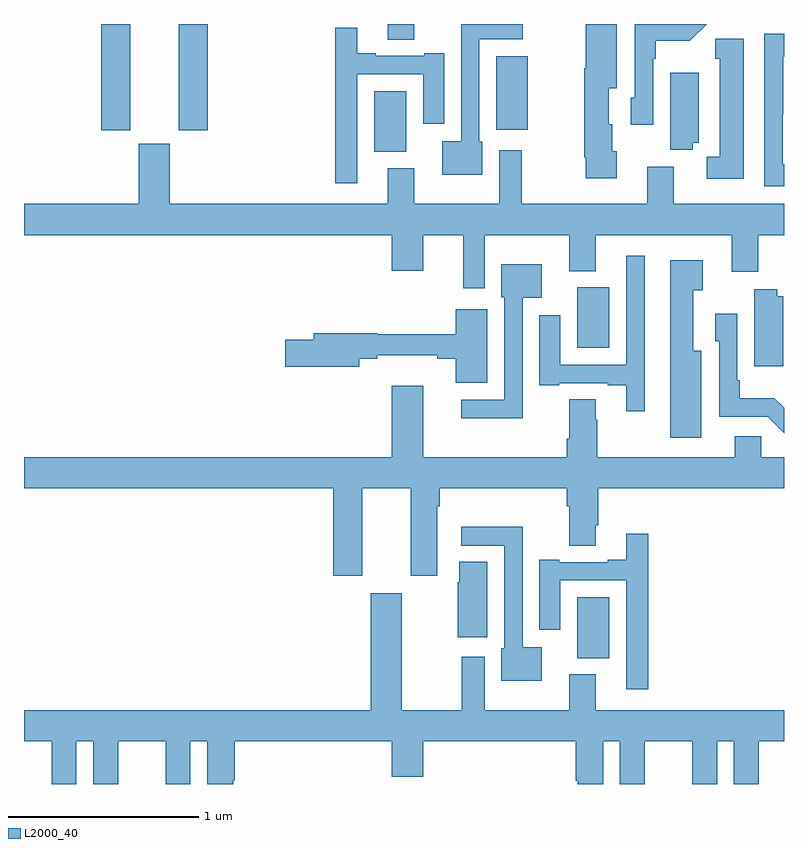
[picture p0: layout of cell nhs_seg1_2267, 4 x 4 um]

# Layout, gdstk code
import gdstk
lib = gdstk.Library(unit=1e-6, precision=1e-09)
def R(c, l, rs):  # rectangles x0, y0, x1, y1
    for r in rs: c.add(gdstk.rectangle(r[:2], r[2:], *l))
def P(c, l, *ps):  # polygons
    for p in ps: c.add(gdstk.Polygon(p, *l))
L2000_40 = (2000, 40)

nhs_seg1_2267 = lib.new_cell('nhs_seg1_2267')
R(nhs_seg1_2267, L2000_40, [(237.911,526.862,238.081,527.182), (237.911,528.494,238.081,528.814), (236.843,529.526,237.013,529.846), (235.406,529.641,235.558,530.199), (235.814,529.641,235.967,530.199), (237.485,529.643,237.652,530.029), (236.915,530.116,237.055,530.199)])
P(nhs_seg1_2267, L2000_40, [(237.412,529.578),(237.396,529.578),(237.396,530.118),(237.625,530.118),(237.625,530.199),(237.3,530.199),(237.3,529.582),(237.2,529.582),(237.2,529.406),(237.412,529.406)],
  [(238.311,530.015),(238.324,530.015),(238.324,530.111),(238.505,530.111),(238.593,530.199),(238.215,530.199),(238.215,529.812),(238.194,529.812),(238.194,529.668),(238.311,529.668)],
  [(238.12,529.53),(238.096,529.53),(238.096,529.671),(238.078,529.671),(238.078,529.862),(238.12,529.862),(238.12,530.199),(237.956,530.199),(237.956,529.966),(237.949,529.966),(237.949,529.498),(237.956,529.498),(237.956,529.386),(238.12,529.386)],
  [(236.754,529.935),(237.101,529.935),(237.101,529.674),(237.211,529.674),(237.211,530.044),(237.107,530.044),(237.107,530.031),(236.851,530.031),(236.851,530.044),(236.755,530.044),(236.755,530.179),(236.638,530.179),(236.638,529.362),(236.754,529.362)],
  [(239,529.46),(238.993,529.46),(238.993,529.723),(238.995,529.723),(238.995,530.027),(239,530.027),(239,530.147),(238.896,530.147),(238.896,529.344),(239,529.344)],
  [(238.789,530.122),(238.639,530.122),(238.639,530.016),(238.661,530.016),(238.661,529.5),(238.593,529.5),(238.593,529.385),(238.789,529.385)],
  [(238.52,529.574),(238.552,529.574),(238.552,529.942),(238.4,529.942),(238.4,529.537),(238.52,529.537)],
  [(237.424,529.088),(237.869,529.088),(237.869,528.899),(238.009,528.899),(238.009,529.088),(238.724,529.088),(238.724,528.894),(238.864,528.894),(238.864,529.088),(239,529.088),(239,529.252),(238.42,529.252),(238.42,529.447),(238.28,529.447),(238.28,529.252),(237.621,529.252),(237.621,529.534),(237.5,529.534),(237.5,529.252),(237.055,529.252),(237.055,529.441),(236.915,529.441),(236.915,529.252),(235.768,529.252),(235.768,529.569),(235.604,529.569),(235.604,529.252),(235,529.252),(235,529.088),(236.936,529.088),(236.936,528.9),(237.1,528.9),(237.1,529.088),(237.311,529.088),(237.311,528.807),(237.424,528.807)],
  [(238.267,528.979),(238.17,528.979),(238.17,528.405),(237.823,528.405),(237.823,528.667),(237.713,528.667),(237.713,528.297),(237.817,528.297),(237.817,528.309),(238.073,528.309),(238.073,528.297),(238.169,528.297),(238.169,528.162),(238.267,528.162)],
  [(238.564,528.478),(238.522,528.478),(238.522,528.799),(238.573,528.799),(238.573,528.955),(238.4,528.955),(238.4,528.021),(238.564,528.021)],
  [(237.624,528.758),(237.724,528.758),(237.724,528.934),(237.512,528.934),(237.512,528.762),(237.528,528.762),(237.528,528.222),(237.3,528.222),(237.3,528.125),(237.624,528.125)],
  [(238.996,528.766),(238.964,528.766),(238.964,528.803),(238.844,528.803),(238.844,528.399),(238.996,528.399)],
  [(237.439,528.697),(237.272,528.697),(237.272,528.565),(236.86,528.565),(236.86,528.572),(236.525,528.572),(236.525,528.536),(236.376,528.536),(236.376,528.394),(236.764,528.394),(236.764,528.436),(236.86,528.436),(236.86,528.455),(237.176,528.455),(237.176,528.436),(237.272,528.436),(237.272,528.311),(237.439,528.311)],
  [(239,528.178),(238.949,528.229),(238.768,528.229),(238.768,528.325),(238.755,528.325),(238.755,528.673),(238.638,528.673),(238.638,528.528),(238.659,528.528),(238.659,528.132),(238.914,528.132),(239,528.046)],
  [(238.017,528.116),(238.009,528.116),(238.009,528.224),(237.869,528.224),(237.869,528.016),(237.857,528.016),(237.857,527.92),(237.1,527.92),(237.1,528.295),(236.936,528.295),(236.936,527.92),(235,527.92),(235,527.756),(236.627,527.756),(236.627,527.295),(236.779,527.295),(236.779,527.756),(237.035,527.756),(237.035,527.295),(237.175,527.295),(237.175,527.66),(237.188,527.66),(237.188,527.756),(237.857,527.756),(237.857,527.66),(237.869,527.66),(237.869,527.452),(238.009,527.452),(238.009,527.56),(238.022,527.56),(238.022,527.756),(239,527.756),(239,527.92),(238.881,527.92),(238.881,528.03),(238.742,528.03),(238.742,527.92),(238.017,527.92)],
  [(237.724,526.918),(237.624,526.918),(237.624,527.552),(237.3,527.552),(237.3,527.454),(237.528,527.454),(237.528,526.914),(237.512,526.914),(237.512,526.742),(237.724,526.742)],
  [(238.286,527.515),(238.169,527.515),(238.169,527.38),(238.073,527.38),(238.073,527.367),(237.817,527.367),(237.817,527.38),(237.713,527.38),(237.713,527.01),(237.823,527.01),(237.823,527.271),(238.17,527.271),(238.17,526.698),(238.286,526.698)],
  [(237.439,527.369),(237.29,527.369),(237.29,527.261),(237.283,527.261),(237.283,526.971),(237.439,526.971)],
  [(238.009,526.777),(237.869,526.777),(237.869,526.588),(237.424,526.588),(237.424,526.87),(237.304,526.87),(237.304,526.588),(236.989,526.588),(236.989,527.203),(236.825,527.203),(236.825,526.588),(235,526.588),(235,526.424),(235.145,526.424),(235.145,526.199),(235.276,526.199),(235.276,526.424),(235.364,526.424),(235.364,526.199),(235.495,526.199),(235.495,526.424),(235.745,526.424),(235.745,526.199),(235.876,526.199),(235.876,526.424),(235.964,526.424),(235.964,526.199),(236.101,526.199),(236.101,526.219),(236.108,526.219),(236.108,526.424),(236.936,526.424),(236.936,526.236),(237.1,526.236),(237.1,526.424),(237.905,526.424),(237.905,526.216),(237.914,526.216),(237.914,526.199),(238.048,526.199),(238.048,526.424),(238.136,526.424),(238.136,526.199),(238.266,526.199),(238.266,526.216),(238.267,526.216),(238.267,526.424),(238.517,526.424),(238.517,526.216),(238.518,526.216),(238.518,526.199),(238.648,526.199),(238.648,526.424),(238.736,526.424),(238.736,526.199),(238.866,526.199),(238.866,526.216),(238.867,526.216),(238.867,526.424),(239,526.424),(239,526.588),(238.009,526.588)])

lib.write_gds('nhs_seg1_2267.gds')
